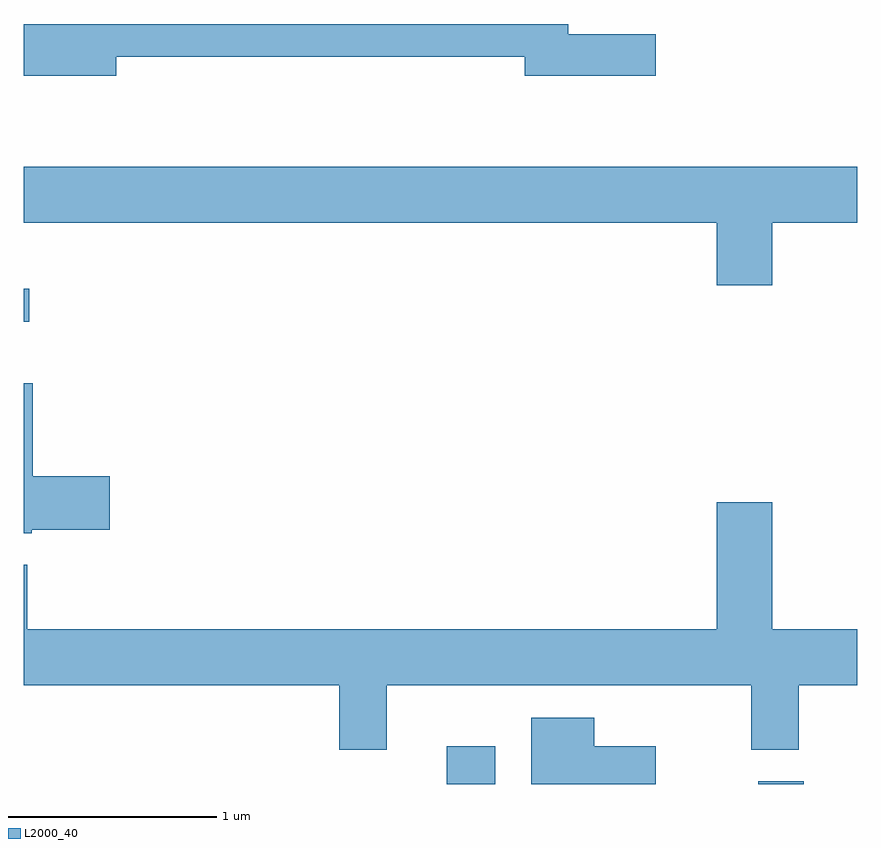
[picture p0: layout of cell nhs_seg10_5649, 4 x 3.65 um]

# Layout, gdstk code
import gdstk
lib = gdstk.Library(unit=1e-6, precision=1e-09)
def R(c, l, rs):  # rectangles x0, y0, x1, y1
    for r in rs: c.add(gdstk.rectangle(r[:2], r[2:], *l))
def P(c, l, *ps):  # polygons
    for p in ps: c.add(gdstk.Polygon(p, *l))
L2000_40 = (2000, 40)

nhs_seg10_5649 = lib.new_cell('nhs_seg10_5649')
R(nhs_seg10_5649, L2000_40, [(353.641,2144.522,353.874,2144.704), (355.136,2144.522,355.354,2144.534), (351.611,2146.741,351.638,2146.899)])
P(nhs_seg10_5649, L2000_40, [(352.054,2148.011),(354.016,2148.011),(354.016,2147.921),(354.644,2147.921),(354.644,2148.119),(354.224,2148.119),(354.224,2148.169),(351.611,2148.169),(351.611,2147.921),(352.054,2147.921)],
  [(355.204,2147.216),(355.611,2147.216),(355.611,2147.484),(351.611,2147.484),(351.611,2147.216),(354.936,2147.216),(354.936,2146.916),(355.204,2146.916)],
  [(351.65,2145.741),(352.024,2145.741),(352.024,2145.999),(351.654,2145.999),(351.654,2146.444),(351.611,2146.444),(351.611,2145.726),(351.65,2145.726)],
  [(353.354,2144.996),(355.101,2144.996),(355.101,2144.686),(355.329,2144.686),(355.329,2144.996),(355.611,2144.996),(355.611,2145.264),(355.204,2145.264),(355.204,2145.874),(354.936,2145.874),(354.936,2145.264),(351.629,2145.264),(351.629,2145.574),(351.611,2145.574),(351.611,2144.996),(353.126,2144.996),(353.126,2144.686),(353.354,2144.686)],
  [(354.644,2144.704),(354.349,2144.704),(354.349,2144.839),(354.046,2144.839),(354.046,2144.522),(354.644,2144.522)])

lib.write_gds('nhs_seg10_5649.gds')
